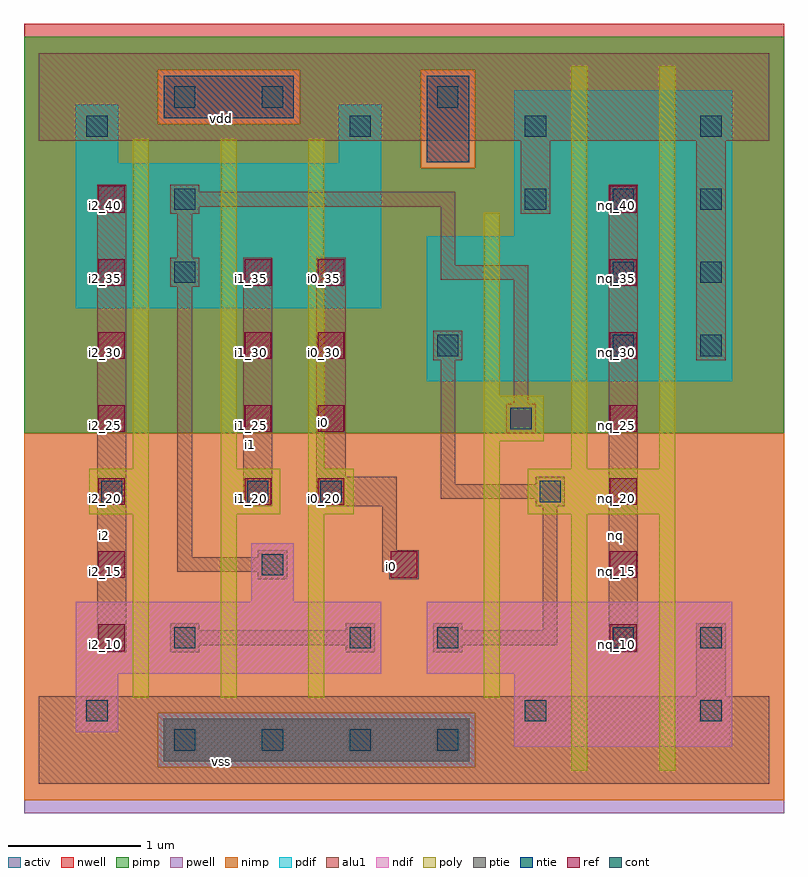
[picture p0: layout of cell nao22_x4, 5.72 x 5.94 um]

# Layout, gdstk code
import gdstk
lib = gdstk.Library(unit=1e-6, precision=2.5e-09)
def R(c, l, rs):  # rectangles x0, y0, x1, y1
    for r in rs: c.add(gdstk.rectangle(r[:2], r[2:], *l))
def A(c, l, x, y, w, h, nx, ny, dx, dy):  # array of equal rectangles
    R(c, l, [(x+i*dx, y+j*dy, x+i*dx+w, y+j*dy+h) for i in range(nx) for j in range(ny)])
ndif = (3, 0)
pdif = (4, 0)
ntie = (5, 0)
ptie = (6, 0)
ref = (24, 0)
cont = (25, 0)
pwell = (41, 0)
nwell = (42, 0)
activ = (43, 0)
pimp = (44, 0)
nimp = (45, 0)
poly = (46, 0)
alu1 = (49, 0)

nao22_x4 = lib.new_cell('nao22_x4')
R(nao22_x4, ndif, [(3.58,0.28,5.22,0.83), (3.58,0.28,5.22,0.83), (0.28,0.39,0.6,0.83), (0.28,0.39,0.6,0.83), (0.28,0.83,2.58,1.37), (0.28,0.83,2.58,1.37), (2.92,0.83,5.22,1.37), (2.92,0.83,5.22,1.37), (1.6,1.37,1.92,1.81), (1.6,1.37,1.92,1.81)])
R(nao22_x4, pdif, [(2.92,3.03,5.22,4.12), (2.92,3.03,5.22,4.12), (0.28,3.58,2.58,4.67), (0.28,3.58,2.58,4.67), (3.58,4.12,5.22,5.22), (3.58,4.12,5.22,5.22), (0.28,4.67,0.6,5.11), (0.28,4.67,0.6,5.11), (2.26,4.67,2.58,5.11), (2.26,4.67,2.58,5.11)])
R(nao22_x4, ntie, [(2.92,4.68,3.24,5.33), (2.92,4.68,3.24,5.33), (0.94,5.01,1.92,5.33), (0.94,5.01,1.92,5.33)])
R(nao22_x4, ptie, [(0.94,0.17,3.24,0.49), (0.94,0.17,3.24,0.49)])
A(nao22_x4, ref, 0.45, 1, 0.2, 0.2, 1, 7, 0, 0.55)
A(nao22_x4, ref, 4.3, 1, 0.2, 0.2, 1, 7, 0, 0.55)
A(nao22_x4, ref, 1.55, 2.1, 0.2, 0.2, 1, 4, 0, 0.55)
A(nao22_x4, ref, 2.1, 2.1, 0.2, 0.2, 1, 4, 0, 0.55)
R(nao22_x4, ref, [(2.65,1.55,2.85,1.75)])
A(nao22_x4, cont, 1.02, 0.25, 0.16, 0.16, 4, 1, 0.66, 0)
A(nao22_x4, cont, 3.66, 4.32, 0.16, 0.16, 3, 1, 0.66, 0)
A(nao22_x4, cont, 2.34, 4.87, 0.16, 0.16, 3, 1, 1.32, 0)
R(nao22_x4, cont, [(0.36,0.47,0.52,0.63), (3.66,0.47,3.82,0.63), (4.98,0.47,5.14,0.63), (1.02,1.02,1.18,1.18), (2.34,1.02,2.5,1.18), (3,1.02,3.16,1.18), (4.32,1.02,4.48,1.18), (4.98,1.02,5.14,1.18), (1.68,1.57,1.84,1.73), (0.47,2.12,0.63,2.28), (1.57,2.12,1.73,2.28), (2.12,2.12,2.28,2.28), (3.77,2.12,3.93,2.28), (3.55,2.67,3.71,2.83), (3,3.22,3.16,3.38), (4.32,3.22,4.48,3.38), (4.98,3.22,5.14,3.38), (1.02,3.77,1.18,3.93), (4.32,3.77,4.48,3.93), (4.98,3.77,5.14,3.93), (1.02,4.32,1.18,4.48), (0.36,4.87,0.52,5.03), (1.02,5.09,1.18,5.25), (1.68,5.09,1.84,5.25), (3,5.09,3.16,5.25)])
R(nao22_x4, pwell, [(-0.11,-0.22,5.61,2.64)])
R(nao22_x4, nwell, [(-0.11,2.64,5.61,5.72)])
R(nao22_x4, activ, [(0.94,0.17,3.24,0.49), (0.94,0.17,3.24,0.49), (3.58,0.28,5.22,0.83), (3.58,0.28,5.22,0.83), (0.28,0.39,0.6,0.83), (0.28,0.39,0.6,0.83), (0.28,0.83,2.58,1.37), (0.28,0.83,2.58,1.37), (2.92,0.83,5.22,1.37), (2.92,0.83,5.22,1.37), (1.6,1.37,1.92,1.81), (1.6,1.37,1.92,1.81), (2.92,3.03,5.22,4.12), (2.92,3.03,5.22,4.12), (0.28,3.58,2.58,4.67), (0.28,3.58,2.58,4.67), (3.58,4.12,5.22,5.22), (3.58,4.12,5.22,5.22), (0.28,4.67,0.6,5.11), (0.28,4.67,0.6,5.11), (2.26,4.67,2.58,5.11), (2.26,4.67,2.58,5.11), (2.92,4.68,3.24,5.33), (2.92,4.68,3.24,5.33), (0.94,5.01,1.92,5.33), (0.94,5.01,1.92,5.33)])
R(nao22_x4, pimp, [(0.895,0.125,3.285,0.535), (-0.11,2.64,5.61,4.635), (-0.11,4.635,2.875,4.965), (3.285,4.635,5.61,5.375), (-0.11,4.965,0.895,5.375), (1.965,4.965,2.875,5.375), (-0.11,5.375,5.61,5.625)])
R(nao22_x4, nimp, [(-0.11,-0.125,5.61,0.125), (-0.11,0.125,0.895,0.535), (3.285,0.125,5.61,0.535), (-0.11,0.535,5.61,2.64), (2.875,4.635,3.285,5.375), (0.895,4.965,1.965,5.375)])
A(nao22_x4, poly, 0.71, 0.65, 0.12, 1.38, 3, 1, 0.66, 0)
A(nao22_x4, poly, 0.71, 2.37, 0.12, 2.48, 3, 1, 0.66, 0)
R(nao22_x4, poly, [(4.01,0.1,4.13,2.03), (4.67,0.1,4.79,2.03), (3.35,0.65,3.47,2.58), (0.38,2.03,0.83,2.37), (1.37,2.03,1.82,2.37), (2.03,2.03,2.37,2.37), (3.68,2.03,4.79,2.37), (4.01,2.37,4.13,5.4), (4.67,2.37,4.79,5.4), (3.35,2.58,3.8,2.92), (3.35,2.92,3.47,4.3)])
R(nao22_x4, alu1, [(0,0,5.5,0.66), (4.95,0.66,5.17,1.21), (0.44,0.99,0.66,4.51), (0.99,0.99,1.21,1.045), (2.31,0.99,2.53,1.045), (2.97,0.99,3.19,1.045), (4.29,0.99,4.51,4.51), (0.99,1.045,2.53,1.155), (2.97,1.045,3.905,1.155), (0.99,1.155,1.21,1.21), (2.31,1.155,2.53,1.21), (2.97,1.155,3.19,1.21), (3.795,1.155,3.905,2.09), (1.65,1.54,1.87,1.595), (2.64,1.54,2.86,1.595), (1.045,1.595,1.87,1.705), (2.585,1.595,2.86,1.76), (1.045,1.705,1.155,3.74), (1.65,1.705,1.87,1.76), (2.585,1.76,2.695,2.09), (1.54,2.09,1.76,3.96), (2.09,2.09,2.695,2.31), (3.74,2.09,3.96,2.145), (3.025,2.145,3.96,2.255), (3.025,2.255,3.135,3.19), (3.74,2.255,3.96,2.31), (2.09,2.31,2.31,3.96), (3.52,2.64,3.74,2.86), (3.575,2.86,3.685,3.795), (2.97,3.19,3.19,3.41), (4.95,3.19,5.17,4.84), (0.99,3.74,1.21,3.96), (3.025,3.795,3.685,3.905), (3.025,3.905,3.135,4.345), (1.045,3.96,1.155,4.29), (0.99,4.29,1.21,4.345), (3.63,4.29,3.85,4.84), (0.99,4.345,3.135,4.455), (0.99,4.455,1.21,4.51), (0,4.84,5.5,5.5)])
nao22_x4.add(gdstk.Label('vss', (1.375,0.165), layer=49, texttype=0))
nao22_x4.add(gdstk.Label('nq', (4.345,1.87), layer=49, texttype=0))
nao22_x4.add(gdstk.Label('i0', (2.6525,1.635), layer=49, texttype=0))
nao22_x4.add(gdstk.Label('i0', (2.145,2.7225), layer=49, texttype=0))
nao22_x4.add(gdstk.Label('i1', (1.595,2.5575), layer=49, texttype=0))
nao22_x4.add(gdstk.Label('i2', (0.495,1.87), layer=49, texttype=0))
nao22_x4.add(gdstk.Label('vdd', (1.375,5.005), layer=49, texttype=0))
nao22_x4.add(gdstk.Label('i2_10', (0.5,1.05), layer=24, texttype=0))
nao22_x4.add(gdstk.Label('i2_15', (0.5,1.6), layer=24, texttype=0))
nao22_x4.add(gdstk.Label('i2_25', (0.5,2.7), layer=24, texttype=0))
nao22_x4.add(gdstk.Label('i2_30', (0.5,3.25), layer=24, texttype=0))
nao22_x4.add(gdstk.Label('nq_35', (4.35,3.8), layer=24, texttype=0))
nao22_x4.add(gdstk.Label('nq_30', (4.35,3.25), layer=24, texttype=0))
nao22_x4.add(gdstk.Label('nq_20', (4.35,2.15), layer=24, texttype=0))
nao22_x4.add(gdstk.Label('nq_10', (4.35,1.05), layer=24, texttype=0))
nao22_x4.add(gdstk.Label('nq_15', (4.35,1.6), layer=24, texttype=0))
nao22_x4.add(gdstk.Label('nq_25', (4.35,2.7), layer=24, texttype=0))
nao22_x4.add(gdstk.Label('i0_20', (2.15,2.15), layer=24, texttype=0))
nao22_x4.add(gdstk.Label('i0_25', (2.15,2.7), layer=24, texttype=0))
nao22_x4.add(gdstk.Label('i0_30', (2.15,3.25), layer=24, texttype=0))
nao22_x4.add(gdstk.Label('i1_30', (1.6,3.25), layer=24, texttype=0))
nao22_x4.add(gdstk.Label('i1_25', (1.6,2.7), layer=24, texttype=0))
nao22_x4.add(gdstk.Label('i1_20', (1.6,2.15), layer=24, texttype=0))
nao22_x4.add(gdstk.Label('i2_20', (0.5,2.15), layer=24, texttype=0))
nao22_x4.add(gdstk.Label('i0_35', (2.15,3.8), layer=24, texttype=0))
nao22_x4.add(gdstk.Label('i1_35', (1.6,3.8), layer=24, texttype=0))
nao22_x4.add(gdstk.Label('i2_35', (0.5,3.8), layer=24, texttype=0))
nao22_x4.add(gdstk.Label('i2_40', (0.5,4.35), layer=24, texttype=0))
nao22_x4.add(gdstk.Label('nq_40', (4.35,4.35), layer=24, texttype=0))
nao22_x4.add(gdstk.Label('i0_15', (2.7,1.6), layer=24, texttype=0))

lib.write_gds('nao22_x4.gds')
